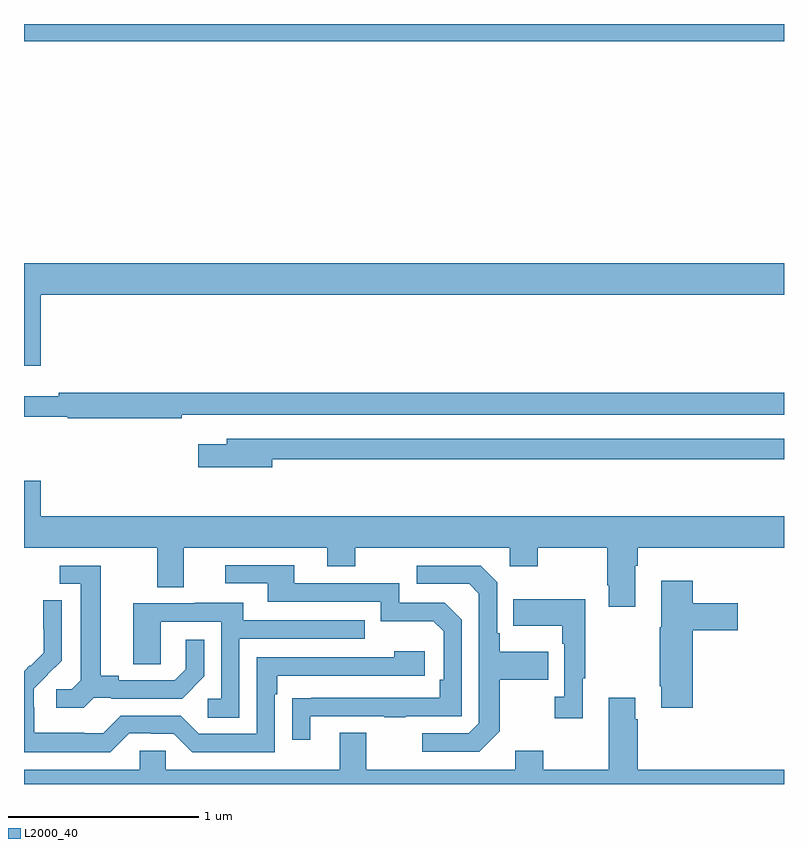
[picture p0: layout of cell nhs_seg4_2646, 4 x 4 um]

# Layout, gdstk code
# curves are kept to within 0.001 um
import gdstk
lib = gdstk.Library(unit=1e-6, precision=1e-09)
def R(c, l, rs):  # rectangles x0, y0, x1, y1
    for r in rs: c.add(gdstk.rectangle(r[:2], r[2:], *l))
def P(c, l, *ps):  # polygons
    for p in ps: c.add(gdstk.Polygon(p, *l))
L2000_40 = (2000, 40)

nhs_seg4_2646 = lib.new_cell('nhs_seg4_2646')
R(nhs_seg4_2646, L2000_40, [(249,808.808,253,808.9)])
P(nhs_seg4_2646, L2000_40, [(249.088,807.476),(253,807.476),(253,807.64),(249,807.64),(249,807.102),(249.088,807.102)],
  [(249.83,806.844),(253,806.844),(253,806.96),(249.184,806.96),(249.184,806.941),(249,806.941),(249,806.832),(249.23,806.832),(249.23,806.824),(249.83,806.824)],
  [(250.306,806.61),(253,806.61),(253,806.718),(250.067,806.718),(250.067,806.689),(249.918,806.689),(249.918,806.567),(250.306,806.567)],
  [(252.217,806.048),(252.23,806.048),(252.23,806.144),(253,806.144),(253,806.308),(249.088,806.308),(249.088,806.497),(249,806.497),(249,806.144),(249.701,806.144),(249.701,805.936),(249.841,805.936),(249.841,806.144),(250.595,806.144),(250.595,806.045),(250.743,806.045),(250.743,806.144),(251.556,806.144),(251.556,806.045),(251.703,806.045),(251.703,806.144),(252.07,806.144),(252.07,805.945),(252.077,805.945),(252.077,805.833),(252.217,805.833)],
  [(250.507,805.257),(250.897,805.257),(250.897,805.252),(251.009,805.252),(251.009,805.257),(251.304,805.257),(251.304,805.764),(251.214,805.854),(250.974,805.854),(250.974,805.956),(250.423,805.956),(250.423,806.052),(250.059,806.052),(250.059,805.956),(250.283,805.956),(250.283,805.86),(250.878,805.86),(250.878,805.757),(251.155,805.757),(251.208,805.704),(251.208,805.45),(251.188,805.45),(251.188,805.353),(250.411,805.352),(250.411,805.134),(250.507,805.134)],
  [(249.366,805.353),(249.46,805.353),(249.46,805.35),(249.832,805.35),(249.948,805.466),(249.948,805.66),(249.851,805.66),(249.851,805.503),(249.794,805.446),(249.499,805.446),(249.499,805.469),(249.403,805.469),(249.403,806.049),(249.189,806.049),(249.189,805.953),(249.299,805.953),(249.299,805.445),(249.252,805.398),(249.171,805.398),(249.171,805.301),(249.314,805.301)],
  [(251.503,805.177),(251.503,805.45),(251.759,805.45),(251.759,805.597),(251.503,805.597),(251.503,805.693),(251.49,805.693),(251.49,805.962),(251.403,806.049),(251.067,806.049),(251.067,805.953),(251.343,805.953),(251.394,805.902),(251.394,805.221),(251.34,805.167),(251.097,805.167),(251.097,805.071),(251.397,805.071)],
  [(252.521,805.709),(252.757,805.709),(252.757,805.851),(252.521,805.851),(252.521,805.969),(252.353,805.969),(252.353,805.725),(252.346,805.725),(252.346,805.414),(252.353,805.414),(252.353,805.302),(252.521,805.302)],
  [(251.941,805.457),(251.953,805.457),(251.953,805.873),(251.575,805.873),(251.575,805.733),(251.832,805.733),(251.832,805.637),(251.844,805.637),(251.844,805.358),(251.793,805.358),(251.793,805.245),(251.941,805.245)],
  [(249.555,805.167),(249.671,805.167),(249.671,805.164),(249.789,805.164),(249.885,805.068),(250.32,805.068),(250.32,805.373),(250.333,805.373),(250.333,805.47),(251.11,805.47),(251.11,805.6),(250.949,805.6),(250.949,805.566),(250.224,805.566),(250.224,805.164),(249.921,805.164),(249.825,805.26),(249.51,805.26),(249.417,805.167),(249.317,805.167),(249.317,805.171),(249.054,805.171),(249.054,805.305),(249.052,805.305),(249.052,805.402),(249.198,805.55),(249.198,805.868),(249.102,805.868),(249.102,805.714),(249.104,805.714),(249.104,805.592),(249.033,805.521),(249.03,805.524),(249,805.494),(249,805.067),(249.455,805.067)],
  [(250.134,805.665),(250.793,805.665),(250.793,805.761),(250.153,805.761),(250.153,805.855),(249.899,805.855),(249.899,805.851),(249.575,805.851),(249.575,805.531),(249.72,805.531),(249.72,805.755),(250.038,805.755),(250.038,805.35),(249.966,805.35),(249.966,805.249),(250.134,805.249)],
  [(253,804.976),(252.23,804.976),(252.23,805.241),(252.217,805.241),(252.217,805.354),(252.077,805.354),(252.077,804.976),(251.733,804.976),(251.733,805.075),(251.585,805.075),(251.585,804.976),(250.801,804.976),(250.801,805.171),(250.661,805.171),(250.661,804.976),(249.747,804.976),(249.747,805.074),(249.609,805.074),(249.609,804.976),(249,804.976),(249,804.9),(253,804.9)])

lib.write_gds('nhs_seg4_2646.gds')
